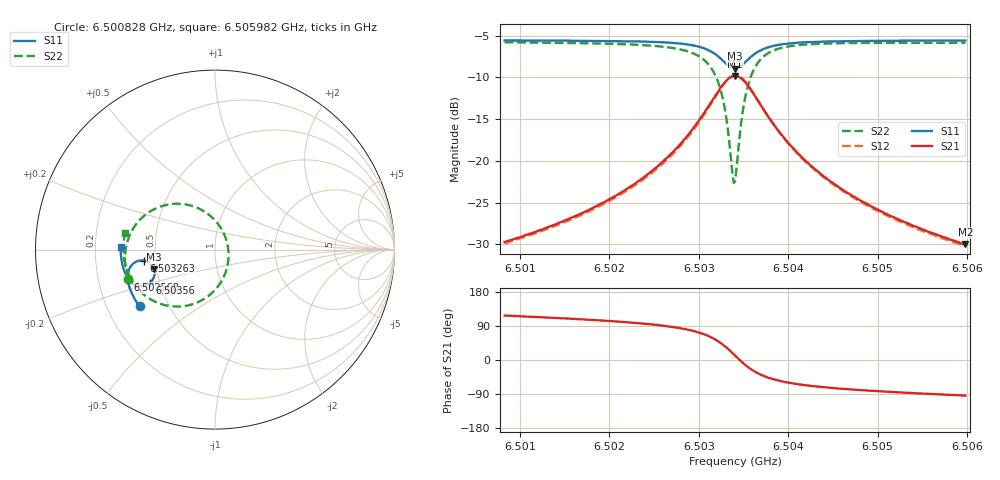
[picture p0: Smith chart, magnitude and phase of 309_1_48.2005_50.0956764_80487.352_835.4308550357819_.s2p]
#  HZ  S  RI  R  50.00
! Rohde & Schwarz Vector Network Analyzer
! Rohde-Schwarz,ZNB20-2Port,1311601062101988,3.16
! Created: UTC 3/20/2024, 11:49:54 AM
! freq[Hz]  re:S11  im:S11  re:S21  im:S21  re:S12  im:S12  re:S22  im:S22
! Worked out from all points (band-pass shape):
!   401 points, 6.500828 GHz to 6.505982 GHz, reference 50 ohm
!   highest |S21| = -9.81 dB at 6.503405 GHz (marker M1); lowest = -30.0 dB at 6.505982 GHz (marker M2)
!   |S21| within 3 dB of the highest: 6.503147 GHz to 6.503663 GHz (515.3 kHz wide, 0.00792 % of centre)
!   lowest |S11| = -9.0 dB at 6.503405 GHz (marker M3), VSWR 2.11, Z = 24.2 - j6.08 ohm
!   |S11| at or under -10 dB: nowhere
!   |S22| runs from -22.6 to -5.8 dB; largest |S21 - S12| = 0.011
!   S11 on the Smith chart (normalised r, x): 6.500828 GHz: 0.34, -0.30; 6.502568 GHz: 0.33, -0.15; 6.503263 GHz: 0.43, -0.06; 6.50356 GHz: 0.44, -0.20; 6.505982 GHz: 0.31, +0.01
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6.5008279e9  -0.4206 -0.3167  -0.015 0.0291  -0.0134 0.0292  -0.4864 -0.165
6.5016913e9  -0.4586 -0.2539  -0.0143 0.0465  -0.0122 0.0461  -0.5015 -0.0751
6.5021681e9  -0.4758 -0.2124  -0.0116 0.0654  -0.00874 0.0644  -0.4995 -0.00922
6.5025547e9  -0.4854 -0.1705  -0.00325 0.0944  0.000509 0.0921  -0.4813 0.0659
6.5025676e9  -0.4855 -0.169  -0.00253 0.0958  0.00108 0.0934  -0.4802 0.0689
6.5028124e9  -0.4851 -0.1338  0.0156 0.1287  0.0194 0.1249  -0.442 0.1382
6.5029928e9  -0.4737 -0.1006  0.0499 0.1645  0.0532 0.1591  -0.3741 0.2041
6.5031603e9  -0.4393 -0.0676  0.127 0.1975  0.1282 0.1911  -0.233 0.2546
6.5032634e9  -0.397 -0.0608  0.2115 0.1887  0.2117 0.1833  -0.0859 0.2269
6.503315e9  -0.3718 -0.0692  0.2594 0.1611  0.26 0.1563  -0.00638 0.1699
6.5033794e9  -0.3456 -0.0953  0.3063 0.0981  0.3088 0.093  0.0642 0.0492
6.5034052e9  -0.3393 -0.1097  0.3163 0.0664  0.3194 0.0604  0.075 -0.00978
6.5034181e9  -0.3374 -0.1173  0.319 0.05  0.3221 0.0436  0.0756 -0.0402
6.5034954e9  -0.3433 -0.1613  0.3021 -0.0433  0.304 -0.0531  0.0183 -0.2028
6.5035598e9  -0.3643 -0.1868  0.2601 -0.0964  0.2588 -0.1074  -0.0766 -0.2838
6.5036629e9  -0.4031 -0.2015  0.1867 -0.132  0.1814 -0.1413  -0.2237 -0.317
6.5038304e9  -0.4486 -0.1917  0.1065 -0.1291  0.0997 -0.1341  -0.3681 -0.2713
6.5040108e9  -0.4756 -0.1704  0.0628 -0.1097  0.0568 -0.1117  -0.4389 -0.2074
6.5042686e9  -0.4962 -0.1404  0.0334 -0.0859  0.0287 -0.0863  -0.4817 -0.1362
6.504668e9  -0.512 -0.0993  0.0144 -0.0626  0.0111 -0.0622  -0.5041 -0.0598
6.5051319e9  -0.521 -0.057  0.00484 -0.047  0.00275 -0.0462  -0.5097 0.00393
6.5059824e9  -0.5258 0.0146  -0.00207 -0.0315  -0.00342 -0.0307  -0.5015 0.0923
